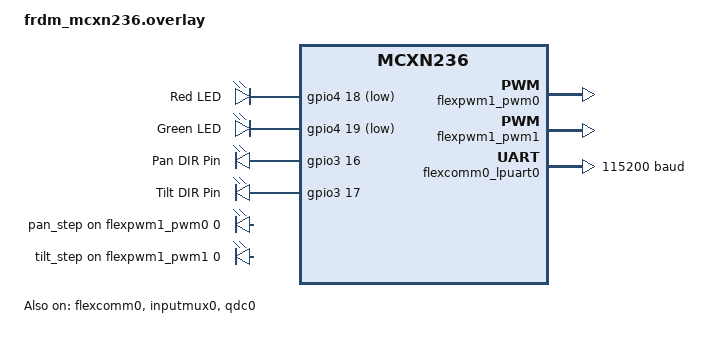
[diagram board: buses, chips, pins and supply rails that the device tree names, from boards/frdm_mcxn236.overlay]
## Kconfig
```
mainmenu "Anti-UAV Tracker Project"

source "Kconfig.zephyr"

config CAN_ROLE_RECEIVER
    bool "Enable the board to receive CAN messages from the STM32 node"
    default n
    help
      Enable this to enable CAN communication with the STM32 node.

config MOTOR_ENCODER_READ
    bool "Enable the board to read motor encoder values"
    default n
    help
      Enable this to enable reading motor encoder values of the stepper motors.
```

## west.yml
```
manifest:
  remotes:
    - name: zephyrproject-rtos
      url-base: https://github.com/zephyrproject-rtos

  projects:
    - name: zephyr
      remote: zephyrproject-rtos
      revision: main
      import:
        name-allowlist:
          - cmsis
          - cmsis_6
          - hal_nxp
```

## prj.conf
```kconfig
CONFIG_GPIO=y
CONFIG_QDC_MCUX=n
CONFIG_SENSOR=y
CONFIG_PWM=y
CONFIG_SERIAL=y
CONFIG_UART_INTERRUPT_DRIVEN=y
CONFIG_LOG=y
CONFIG_UART_MCUX_LPUART=y
CONFIG_CBPRINTF_FP_SUPPORT=y
```

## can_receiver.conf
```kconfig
CONFIG_CAN_ROLE_RECEIVER=y
```

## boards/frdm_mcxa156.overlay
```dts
/* SPDX-License-Identifier: Apache-2.0 */

/ {
	aliases {
		led0 = &red_led;
		led1 = &green_led;
		motor-can = &flexcan0;
	};

	leds {
		compatible = "gpio-leds";

		red_led: led_0 {
			gpios = <&gpio3 12 GPIO_ACTIVE_LOW>;
			label = "Red LED";
		};
		green_led: led_1 {
			gpios = <&gpio3 13 GPIO_ACTIVE_LOW>;
			label = "Green LED";
		};
	};
};

&flexcan0 {
	status = "okay";
	bitrate = <250000>;
    can-transceiver {
	max-bitrate = <500000>;
	};
};
```

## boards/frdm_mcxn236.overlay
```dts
/* SPDX-License-Identifier: Apache-2.0 */
#include <zephyr/dt-bindings/pwm/pwm.h>
/ {
    aliases {
        led0 = &red_led;
        led1 = &green_led;
        pdir = &pan_dir;
        tdir= &tilt_dir; 
    };

    leds {
        compatible = "gpio-leds";

        red_led: led_3 {
            gpios = <&gpio4 18 GPIO_ACTIVE_LOW>;
            label = "Red LED";
        };

        green_led: led_1 {
            gpios = <&gpio4 19 GPIO_ACTIVE_LOW>;
            label = "Green LED";
        };
    };

    motor_pins {
		compatible = "gpio-leds";
		
        
        pan_dir: pan_dir {
            gpios = <&gpio3 16 GPIO_ACTIVE_HIGH>; 
            label = "Pan DIR Pin";
        };

        tilt_dir: tilt_dir {
            gpios = <&gpio3 17 GPIO_ACTIVE_HIGH>; 
            label = "Tilt DIR Pin";
        };
    };

    pwm_motors {
        compatible = "pwm-leds";
        
        pan_step: pan_step {
            pwms = <&flexpwm1_pwm0 0 PWM_HZ(2300) PWM_POLARITY_NORMAL>;
        };

        tilt_step: tilt_step {
            pwms = <&flexpwm1_pwm1 0 PWM_HZ(2300) PWM_POLARITY_NORMAL>;
        };
    };
};


&peripheral {
    inputmux0: inputmux@6000 {
        compatible = "nxp,inputmux";
        reg = <0x6000 0x1000>;
        #inputmux-cells = <2>;
        status = "okay";
    };

    qdc0: qdc@cf000 {
        compatible = "nxp,mcux-qdc";
        reg = <0xcf000 0x1000>;
        status = "disabled";
    };
};

&pinctrl {
    qdc0_default: qdc0_default {
        group0 {
            pinmux = <TRIG_IN8_PIO4_13>,
                     <TRIG_IN9_PIO4_21>;
            drive-strength = "low";
            slew-rate = "fast";
            input-enable;
        };
    };

    pinmux_flexpwm1_pwm0: pinmux_flexpwm1_pwm0 {
		group0 {
			pinmux = <PWM1_A0_PIO3_12>;
			slew-rate = "fast";
			drive-strength = "low";
		};
	};
    
    pinmux_flexpwm1_pwm1: pinmux_flexpwm1_pwm1 {
		group0 {
			pinmux = <PWM1_A1_PIO3_14>;
			slew-rate = "fast";
			drive-strength = "low";
		};
    };
};

&inputmux0 {
    status = "okay";
};

&flexpwm1_pwm0 {
    status = "okay";
    pinctrl-0 = <&pinmux_flexpwm1_pwm0>;
};

&flexpwm1_pwm1 {
    status = "okay";
    pinctrl-0 = <&pinmux_flexpwm1_pwm1>;
    pinctrl-names = "default";
};

&qdc0 {
    status = "okay";
    pinctrl-0 = <&qdc0_default>;
    pinctrl-names = "default";
    /* 14 encoder pulses per revolution, decoded in quadrature x4. */
    counts-per-revolution = <360>;
    filter-count = <7>;
    filter-sample-period = <100>;
    input-channels = <0 0>;
    inputmux-connections = <0x37000032 0x36c00033>;
};

&flexcomm0 {
    status = "okay";
};

&flexcomm0_lpuart0 {
    status = "okay";
	current-speed = <115200>;
    parity = "none";
    data-bits = <8>;      
    stop-bits = "1";
};

&gpio3 {
    status = "okay";
};

&gpio2 {
    status = "okay";
};

&gpio4 {
    status = "okay";
};
```

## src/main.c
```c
/*
 * Copyright (c) 2016 Intel Corporation
 *
 * SPDX-License-Identifier: Apache-2.0
 */
#include <stdio.h>
#include <zephyr/device.h>
#include <zephyr/devicetree.h>
#include <zephyr/kernel.h>
#include <zephyr/drivers/gpio.h>
#include <zephyr/drivers/uart.h>
#include <zephyr/drivers/pwm.h>
#include <math.h>
#include <zephyr/logging/log.h>
#include <zephyr/drivers/gpio.h>

LOG_MODULE_REGISTER(can_node, LOG_LEVEL_DBG);

#define SLEEP_TIME_MS 10
#define UART_RX_PACKET_SIZE sizeof(joints_t)
#define PAN_GEAR_RATIO 4.0f // (80/20)
#define TILT_GEAR_RATIO 3.0f // (60/20)
#define PAN_VEL_TO_HZ_MULTIPLIER 254.7f * PAN_GEAR_RATIO
#define TILT_VEL_TO_HZ_MULTIPLIER 254.7f * TILT_GEAR_RATIO

static const struct gpio_dt_spec red_led = GPIO_DT_SPEC_GET(DT_ALIAS(led0), gpios);
static const struct gpio_dt_spec green_led = GPIO_DT_SPEC_GET(DT_ALIAS(led1), gpios);
static const struct gpio_dt_spec pan_dir = GPIO_DT_SPEC_GET(DT_ALIAS(pdir), gpios);
static const struct gpio_dt_spec tilt_dir = GPIO_DT_SPEC_GET(DT_ALIAS(tdir), gpios);
static const struct pwm_dt_spec pan_step = PWM_DT_SPEC_GET(DT_NODELABEL(pan_step));
static const struct pwm_dt_spec tilt_step = PWM_DT_SPEC_GET(DT_NODELABEL(tilt_step));

typedef struct {
	float pan_velocity;
	float tilt_velocity;
} joints_t;

joints_t joint_target;
volatile bool uart_packet_ready = false;
int8_t uart_packet[UART_RX_PACKET_SIZE];
volatile uint8_t uart_packet_len;

static void uart_callback(const struct device *dev, void *user_data)
{
    uart_irq_update(dev);

    while (uart_irq_is_pending(dev)) {
        if (!uart_irq_rx_ready(dev)) {
            break;
        }

        int8_t received[UART_RX_PACKET_SIZE];
        int count = uart_fifo_read(dev, received, sizeof(received));

        for (int i = 0; i < count; i++) {
            uart_packet[uart_packet_len++] = received[i];

            if (uart_packet_len == UART_RX_PACKET_SIZE) {
                memcpy(&joint_target, uart_packet, sizeof(joint_target));
                uart_packet_len = 0;
                uart_packet_ready = true;
                gpio_pin_toggle_dt(&green_led);
            }
        }
    }
}

int set_pan_velocity(float velocity, const struct gpio_dt_spec *dir_pin)
{
	/* 1. Deadband/Stop: Handle 0 velocity (or extremely small noise values) */
    if (fabsf(velocity) < 0.001f) {
		return pwm_set_dt(&pan_step, pan_step.period, 0);
    }
	
    /* If velocity > 0, set direction 1. If < 0, set direction 0 */
    gpio_pin_set_dt(dir_pin, (velocity > 0.0f) ? 1 : 0);
	
    /* 3. Calculate absolute frequency and hardware period */
    float abs_velocity = fabsf(velocity);
    float frequency_hz = abs_velocity * PAN_VEL_TO_HZ_MULTIPLIER;
    
    /* Calculate period in nanoseconds */
    uint32_t base_period_ns = (uint32_t)(1000000000.0f / frequency_hz);
	uint32_t period_ns = (uint32_t)(base_period_ns * 1.5f);
    uint32_t pulse_ns = period_ns / 2; /* 50% duty cycle for the STEP pulse */
	
    /* 4. Update the PWM hardware */
    return pwm_set_dt(&pan_step, period_ns, pulse_ns);
}

#define MIN_PWM_FREQ_HZ 10.0f

int set_tilt_velocity(float velocity, const struct gpio_dt_spec *dir_pin)
{
    /* 1. Calculate absolute frequency first */
	if (fabsf(velocity) < 0.001f) {
		return pwm_set_dt(&tilt_step, tilt_step.period, 0);
    }
	
    /* If velocity > 0, set direction 1. If < 0, set direction 0 */
    gpio_pin_set_dt(dir_pin, (velocity > 0.0f) ? 1 : 0);
	
    /* 3. Calculate absolute frequency and hardware period */
    float abs_velocity = fabsf(velocity);
    float frequency_hz = abs_velocity * PAN_VEL_TO_HZ_MULTIPLIER;
    
    /* 3. Set physical direction */
    gpio_pin_set_dt(dir_pin, (velocity > 0.0f) ? 1 : 0);
    
    /* 4. Calculate hardware period */
    uint32_t base_period_ns = (uint32_t)(1000000000.0f / frequency_hz);
    uint32_t period_ns = (uint32_t)(base_period_ns * 1.5f);
    uint32_t pulse_ns = period_ns / 2;
    
    /* 5. Update the PWM hardware */
    return pwm_set_dt(&tilt_step, period_ns, pulse_ns);
}

int main(void)
{
	int ret;
	const struct device *const uart_dev =
		DEVICE_DT_GET(DT_NODELABEL(flexcomm0_lpuart0));

	if (!gpio_is_ready_dt(&red_led) || !gpio_is_ready_dt(&green_led)) {
		printk("Error: LED device is not ready\n");
		return 0;
	}

	ret = gpio_pin_configure_dt(&green_led, GPIO_OUTPUT_INACTIVE);
	if (ret < 0) {
    return 0;
}
	
	ret = gpio_pin_configure_dt(&red_led, GPIO_OUTPUT_INACTIVE);
	if (ret < 0) return 0;

	if (!gpio_is_ready_dt(&pan_dir)) {
		printk("Error: Pan direction GPIO device is not ready\n");
		return 0;
	}
	
	ret = gpio_pin_configure_dt(&pan_dir, GPIO_OUTPUT_LOW);
	if (ret < 0) return 0;
	
	if (!gpio_is_ready_dt(&tilt_dir)) {
		printk("Error: Tilt direction GPIO device is not ready\n");
		return 0;
	}

	ret = gpio_pin_configure_dt(&tilt_dir, GPIO_OUTPUT_LOW);
	if (ret < 0) return 0;

	if (!pwm_is_ready_dt(&pan_step)) {
		printk("Error: PWM device %s is not ready\n", pan_step.dev->name);
		return 0;
	}

	if (!pwm_is_ready_dt(&tilt_step)) {
		printk("Error: PWM device %s is not ready\n", tilt_step.dev->name);
		return 0;
	}

	if (!device_is_ready(uart_dev)) {
		printk("UART device is not ready\n");
		return 0;
	}

	ret = uart_irq_callback_user_data_set(uart_dev, uart_callback, NULL);
	if (ret != 0) {
		printk("Failed to set UART callback: %d\n", ret);
		return 0;
	}

	uart_irq_rx_enable(uart_dev);


	printk("Waiting for UART interrupt RX data...\n");

	while (1) {
		if (uart_packet_ready) {
			uart_packet_ready = false;
			printk("UART packet: pan_velocity=%f, tilt_velocity=%f\n",
				(double)joint_target.pan_velocity,
				(double)joint_target.tilt_velocity);
			set_pan_velocity(joint_target.pan_velocity, &pan_dir);
			set_tilt_velocity(joint_target.tilt_velocity, &tilt_dir);
		}

		}
	}
```
